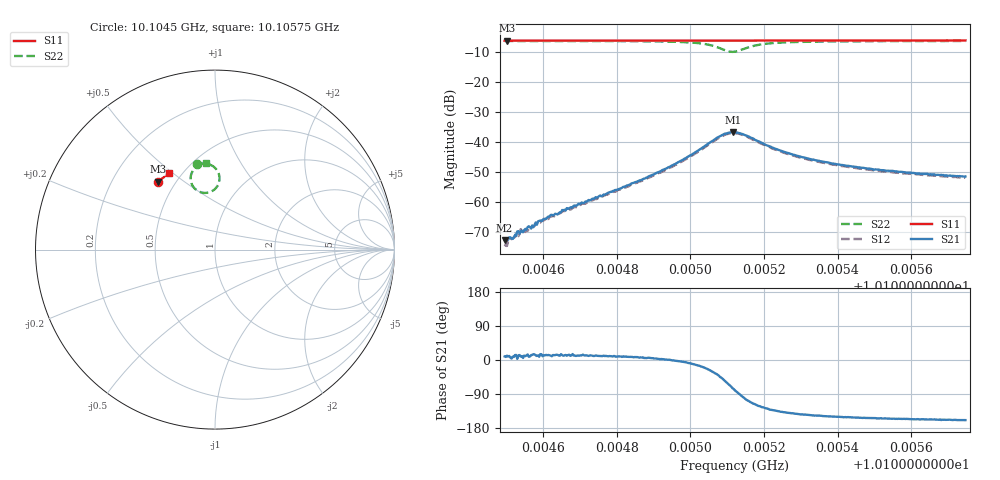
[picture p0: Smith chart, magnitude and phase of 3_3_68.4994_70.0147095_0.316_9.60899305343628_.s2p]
#  HZ  S  RI  R  50.00
! Rohde & Schwarz Vector Network Analyzer
! Rohde-Schwarz,ZNB20-2Port,1311601062101988,3.16
! Created: UTC 3/20/2024, 4:48:42 PM
! freq[Hz]  re:S11  im:S11  re:S21  im:S21  re:S12  im:S12  re:S22  im:S22
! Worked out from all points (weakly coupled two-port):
!   401 points, 10.1045 GHz to 10.10575 GHz, reference 50 ohm
!   highest |S21| = -36.64 dB at 10.10512 GHz (marker M1); lowest = -72.8 dB at 10.1045 GHz (marker M2)
!   lowest |S11| = -6.1 dB at 10.1045 GHz (marker M3), VSWR 2.94, Z = 20.2 + j20.1 ohm
!   |S11| at or under -10 dB: nowhere
!   |S22| runs from -9.9 to -6.3 dB; largest |S21 - S12| = 0.0016
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1.0104495e10  -0.3169 0.3773  0.000225 3.73e-05  0.00018 3.51e-05  -0.0979 0.4752
1.0104501e10  -0.3164 0.3776  0.000241 4.88e-05  0.000176 5.6e-05  -0.0973 0.4753
1.0104511e10  -0.3162 0.3779  0.000255 2.92e-05  0.000233 8.85e-05  -0.0965 0.4755
1.010452e10  -0.3157 0.3783  0.000252 3.51e-05  0.000252 6.07e-05  -0.0957 0.4757
1.0104533e10  -0.3152 0.3789  0.000319 6.98e-05  0.000266 4.61e-05  -0.0944 0.476
1.0104555e10  -0.3141 0.3797  0.000338 7.2e-05  0.000327 9.62e-05  -0.0925 0.4763
1.010457e10  -0.3135 0.3803  0.000397 9.47e-05  0.000366 0.000107  -0.091 0.4767
1.0104595e10  -0.3123 0.3814  0.000458 0.000124  0.000469 0.000148  -0.0885 0.477
1.0104705e10  -0.3072 0.3859  0.000962 0.00021  0.000891 0.000288  -0.0765 0.4786
1.0104915e10  -0.2973 0.3941  0.00318 0.000158  0.00303 0.000434  -0.0384 0.4765
1.010499e10  -0.2936 0.397  0.00548 -0.000623  0.00523 -0.000119  -0.00989 0.4635
1.0105065e10  -0.2895 0.3996  0.00911 -0.00607  0.00928 -0.00489  0.0252 0.3968
1.010509e10  -0.2883 0.4001  0.0083 -0.0106  0.00886 -0.00934  0.00911 0.3481
1.0105115e10  -0.2874 0.4007  0.00384 -0.0142  0.0051 -0.0132  -0.0459 0.3165
1.0105121e10  -0.2873 0.4009  0.00247 -0.0143  0.00371 -0.0136  -0.0625 0.3161
1.0105156e10  -0.2861 0.4023  -0.00363 -0.0119  -0.00249 -0.0119  -0.125 0.356
1.01052e10  -0.2843 0.404  -0.00537 -0.00756  -0.00457 -0.00772  -0.1346 0.4109
1.0105262e10  -0.2813 0.4068  -0.00501 -0.00438  -0.00445 -0.00461  -0.1184 0.4467
1.0105331e10  -0.2778 0.4093  -0.00424 -0.00283  -0.00383 -0.00312  -0.1022 0.4623
1.0105431e10  -0.2728 0.4129  -0.00349 -0.00194  -0.00318 -0.00213  -0.0851 0.4724
1.0105541e10  -0.2674 0.4169  -0.00299 -0.00141  -0.00276 -0.00161  -0.0714 0.4778
1.0105747e10  -0.2571 0.4241  -0.00248 -0.000972  -0.00227 -0.00111  -0.0517 0.483
